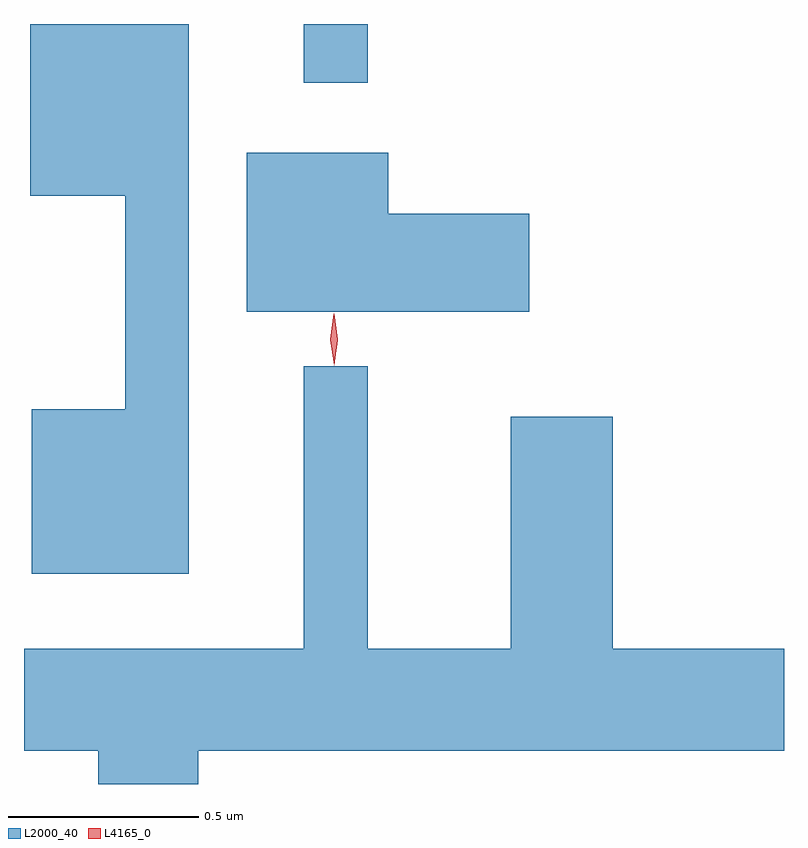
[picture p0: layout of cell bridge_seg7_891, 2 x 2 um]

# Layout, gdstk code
import gdstk
lib = gdstk.Library(unit=1e-6, precision=1e-09)
def R(c, l, rs):  # rectangles x0, y0, x1, y1
    for r in rs: c.add(gdstk.rectangle(r[:2], r[2:], *l))
def P(c, l, *ps):  # polygons
    for p in ps: c.add(gdstk.Polygon(p, *l))
L2000_40 = (2000, 40)
L4165_0 = (4165, 0)

bridge_seg7_891 = lib.new_cell('bridge_seg7_891')
R(bridge_seg7_891, L2000_40, [(314.431,1720.513,314.599,1720.668)])
P(bridge_seg7_891, L2000_40, [(314.129,1720.668),(313.711,1720.668),(313.711,1720.216),(313.961,1720.216),(313.961,1719.654),(313.716,1719.654),(313.716,1719.221),(314.129,1719.221)],
  [(315.024,1720.169),(314.654,1720.169),(314.654,1720.329),(314.281,1720.329),(314.281,1719.911),(315.024,1719.911)],
  [(314.154,1718.756),(315.695,1718.756),(315.695,1719.024),(315.244,1719.024),(315.244,1719.634),(314.976,1719.634),(314.976,1719.024),(314.599,1719.024),(314.599,1719.768),(314.431,1719.768),(314.431,1719.024),(313.695,1719.024),(313.695,1718.756),(313.891,1718.756),(313.891,1718.668),(314.154,1718.668)])
P(bridge_seg7_891, L4165_0, [(314.511,1719.77),(314.511,1719.77),(314.501,1719.838),(314.51,1719.905),(314.511,1719.906),(314.511,1719.905),(314.521,1719.838),(314.512,1719.77)],
  [(314.511,1719.773),(314.511,1719.773),(314.501,1719.836),(314.51,1719.899),(314.511,1719.9),(314.511,1719.899),(314.521,1719.836),(314.512,1719.773)])

lib.write_gds('bridge_seg7_891.gds')
